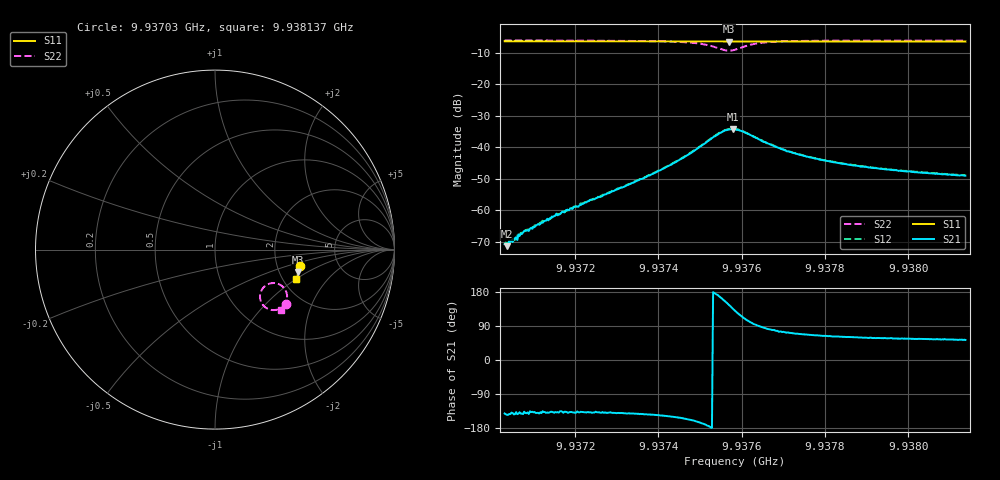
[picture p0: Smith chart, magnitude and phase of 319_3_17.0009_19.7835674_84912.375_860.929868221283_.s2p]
#  HZ  S  RI  R  50.00
! Rohde & Schwarz Vector Network Analyzer
! Rohde-Schwarz,ZNB20-2Port,1311601062101988,3.16
! Created: UTC 3/20/2024, 11:06:21 PM
! freq[Hz]  re:S11  im:S11  re:S21  im:S21  re:S12  im:S12  re:S22  im:S22
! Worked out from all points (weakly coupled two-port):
!   401 points, 9.93703 GHz to 9.938137 GHz, reference 50 ohm
!   highest |S21| = -34.15 dB at 9.937578 GHz (marker M1); lowest = -71.4 dB at 9.937036 GHz (marker M2)
!   lowest |S11| = -6.4 dB at 9.93757 GHz (marker M3), VSWR 2.85, Z = 127 - j41.1 ohm
!   |S11| at or under -10 dB: nowhere
!   |S22| runs from -9.3 to -6.0 dB; largest |S21 - S12| = 0.00087
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9.9370303e9  0.4761 -0.0899  -0.000226 -0.000181  -0.00025 -0.000162  0.3973 -0.3013
9.9370358e9  0.476 -0.0902  -0.000219 -0.000157  -0.000216 -0.000172  0.3969 -0.3016
9.9370414e9  0.476 -0.0907  -0.00026 -0.0002  -0.000259 -0.000159  0.3964 -0.3021
9.9370552e9  0.4757 -0.0917  -0.000286 -0.000217  -0.000253 -0.000227  0.3957 -0.3031
9.9370746e9  0.4755 -0.093  -0.000352 -0.000269  -0.000333 -0.000275  0.3942 -0.3045
9.9370856e9  0.475 -0.0936  -0.000363 -0.000322  -0.000373 -0.000326  0.3934 -0.3051
9.9371493e9  0.474 -0.098  -0.000613 -0.000528  -0.000608 -0.000566  0.3887 -0.3097
9.9372157e9  0.4728 -0.1024  -0.000915 -0.000852  -0.000944 -0.00086  0.3823 -0.3153
9.9374012e9  0.469 -0.1151  -0.00352 -0.00242  -0.00361 -0.00238  0.3511 -0.3332
9.9374565e9  0.4675 -0.1187  -0.00597 -0.003  -0.00612 -0.0029  0.3278 -0.3372
9.9375091e9  0.4657 -0.1223  -0.0111 -0.00217  -0.0113 -0.00197  0.2856 -0.3255
9.9375451e9  0.4642 -0.1242  -0.0161 0.00321  -0.0165 0.0037  0.2518 -0.2753
9.93757e9  0.4636 -0.1247  -0.0157 0.0112  -0.0157 0.0119  0.2674 -0.2141
9.9375783e9  0.4636 -0.125  -0.014 0.0137  -0.0137 0.0143  0.2849 -0.1984
9.9375838e9  0.4637 -0.1252  -0.0124 0.0148  -0.0123 0.0153  0.2987 -0.1915
9.9376032e9  0.4637 -0.1262  -0.00676 0.0165  -0.0063 0.0168  0.3456 -0.1888
9.937642e9  0.4637 -0.129  0.000157 0.0134  0.000375 0.0135  0.3928 -0.226
9.9377084e9  0.4628 -0.1337  0.00264 0.00824  0.00285 0.00841  0.4013 -0.2719
9.9377693e9  0.4614 -0.1381  0.00279 0.00622  0.00292 0.0062  0.3963 -0.2922
9.9378634e9  0.4591 -0.1443  0.00259 0.00454  0.00271 0.00458  0.3877 -0.3096
9.9379547e9  0.4568 -0.1502  0.00238 0.00374  0.00249 0.00372  0.3804 -0.32
9.9381374e9  0.4521 -0.162  0.00214 0.00283  0.0022 0.00284  0.3677 -0.3349
